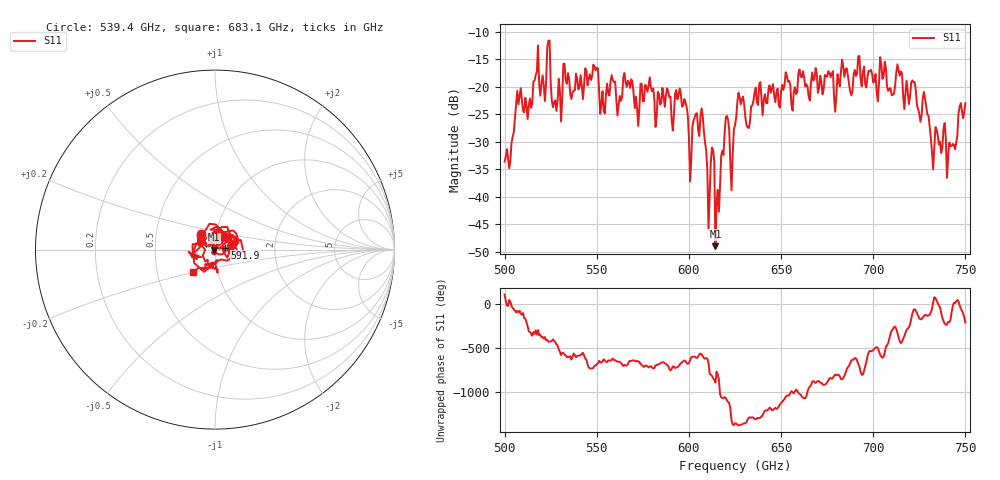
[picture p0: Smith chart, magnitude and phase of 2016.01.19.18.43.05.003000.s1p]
!Created with skrf (http://scikit-rf.org).
# GHz S RI R 50.0
!freq ReS11 ImS11
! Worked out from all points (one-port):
!   401 points, 500 GHz to 750 GHz, reference 50 ohm
!   lowest |S11| = -48.9 dB at 614.4 GHz (marker M1), VSWR 1.01, Z = 49.6 - j0.0559 ohm
!   |S11| at or under -10 dB: start of sweep to end of sweep
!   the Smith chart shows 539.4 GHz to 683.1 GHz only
!   S11 on the Smith chart (normalised r, x): 539.4 GHz: 0.84, +0.15; 591.9 GHz: 1.12, +0.02; 683.1 GHz: 0.76, -0.20
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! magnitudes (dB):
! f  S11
! 500 GHz  -33.6
! 516.9 GHz  -17.9
! 531.2 GHz  -22.3
! 539.4 GHz  -18.6
! 549.4 GHz  -17.1
! 553.1 GHz  -20.8
! 558.8 GHz  -18.8
! 562.5 GHz  -21.7
! 565.6 GHz  -19.2
! 591.9 GHz  -25.0
! 593.8 GHz  -22.3
! 600.6 GHz  -37.2
! 607.5 GHz  -25.3
! 610 GHz  -35.2
! 614.4 GHz  -48.9
! 615.6 GHz  -38.7
! 620.6 GHz  -25.3
! 623.1 GHz  -38.8
! 625 GHz  -27.0
! 628.1 GHz  -23.2
! 631.9 GHz  -27.4
! 637.5 GHz  -23.3
! 656.2 GHz  -24.3
! 683.1 GHz  -15.1
! 687.5 GHz  -20.8
! 718.8 GHz  -21.0
! 741.2 GHz  -30.1
! 750 GHz  -23.0
